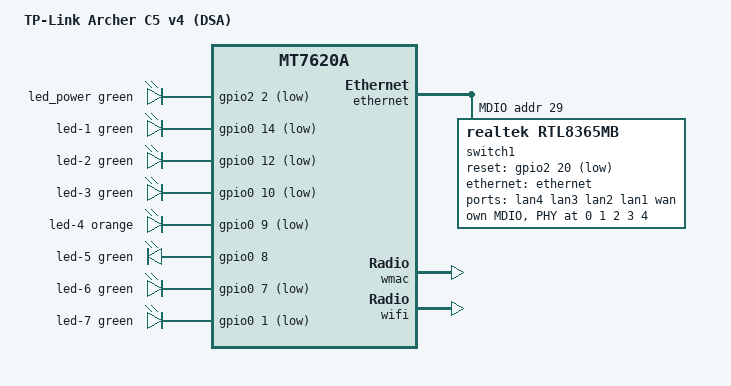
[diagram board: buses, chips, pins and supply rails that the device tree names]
// SPDX-License-Identifier: GPL-2.0-or-later OR MIT

#include <dt-bindings/leds/common.h>
#include <dt-bindings/interrupt-controller/irq.h>

#include "mt7620a_tplink_8m.dtsi"

/ {
	compatible = "tplink,archer-c5-v4-dsa", "ralink,mt7620a-soc";
	model = "TP-Link Archer C5 v4 (DSA)";

	aliases {
		led-boot = &led_power;
		led-failsafe = &led_power;
		led-running = &led_power;
		led-upgrade = &led_power;
		label-mac-device = &ethernet;
	};

	leds {
		compatible = "gpio-leds";

		led_power: led-0 {
			function = LED_FUNCTION_POWER;
			color = <LED_COLOR_ID_GREEN>;
			gpios = <&gpio2 2 GPIO_ACTIVE_LOW>;
		};

		led-1 {
			function = LED_FUNCTION_WLAN_2GHZ;
			color = <LED_COLOR_ID_GREEN>;
			gpios = <&gpio0 14 GPIO_ACTIVE_LOW>;
			linux,default-trigger = "phy1tpt";
		};

		led-2 {
			function = LED_FUNCTION_WLAN_5GHZ;
			color = <LED_COLOR_ID_GREEN>;
			gpios = <&gpio0 12 GPIO_ACTIVE_LOW>;
			linux,default-trigger = "phy0tpt";
		};

		led-3 {
			function = LED_FUNCTION_WAN;
			color = <LED_COLOR_ID_GREEN>;
			gpios = <&gpio0 10 GPIO_ACTIVE_LOW>;
		};

		led-4 {
			function = LED_FUNCTION_WAN;
			color = <LED_COLOR_ID_ORANGE>;
			gpios = <&gpio0 9 GPIO_ACTIVE_LOW>;
		};

		led-5 {
			function = LED_FUNCTION_LAN;
			color = <LED_COLOR_ID_GREEN>;
			gpios = <&gpio0 8 GPIO_ACTIVE_HIGH>;
		};

		led-6 {
			function = LED_FUNCTION_USB;
			color = <LED_COLOR_ID_GREEN>;
			gpios = <&gpio0 7 GPIO_ACTIVE_LOW>;
			trigger-sources = <&ohci_port1>, <&ehci_port1>;
			linux,default-trigger = "usbport";
		};

		led-7 {
			function = LED_FUNCTION_WPS;
			color = <LED_COLOR_ID_GREEN>;
			gpios = <&gpio0 1 GPIO_ACTIVE_LOW>;
		};
	};
};

&gpio0 {
	interrupt-controller;
	#interrupt-cells = <2>;
};

&state_default {
	gpio {
		groups = "i2c", "uartf", "ephy", "rgmii2";
		function = "gpio";
	};
};

&ethernet {
	pinctrl-names = "default";
	pinctrl-0 = <&rgmii1_pins &mdio_pins>;

	/* Internal switch is used as transparent switch connecting
	   its port6 (CPU) to external switch through port5 */
	/delete-property/ mediatek,portmap;

	/* Currrent realtek DSA driver forces forwarding on CPU */
	mediatek,mac-learn-disable;

	port@5 {
		status = "okay";
		mediatek,fixed-link = <1000 1 1 1>;
		phy-mode = "rgmii";
	};

	mdio0: mdio-bus {
		status = "okay";
	};
};

&mdio0 {
	switch1@29 {

		compatible = "realtek,rtl8365mb";
		reg = <29>;

		reset-gpios = <&gpio2 20 GPIO_ACTIVE_LOW>;

		switch_intc: interrupt-controller {
			interrupt-parent = <&gpio0>;
			interrupts = <11 IRQ_TYPE_EDGE_FALLING>;
			interrupt-controller;
			#address-cells = <0>;
			#interrupt-cells = <1>;
		};

		mdio {
			#address-cells = <1>;
			#size-cells = <0>;

			phy0: ethernet-phy@0 {
				reg = <0>;
				interrupt-parent = <&switch_intc>;
				interrupts = <0>;
			};
			phy1: ethernet-phy@1 {
				reg = <1>;
				interrupt-parent = <&switch_intc>;
				interrupts = <1>;
			};
			phy2: ethernet-phy@2 {
				reg = <2>;
				interrupt-parent = <&switch_intc>;
				interrupts = <2>;
			};
			phy3: ethernet-phy@3 {
				reg = <3>;
				interrupt-parent = <&switch_intc>;
				interrupts = <3>;
			};
			phy4: ethernet-phy@4 {
				reg = <4>;
				interrupt-parent = <&switch_intc>;
				interrupts = <4>;
			};
		};

		ports {
			#address-cells = <1>;
			#size-cells = <0>;
			reg = <0>;

			port@0 {
				reg = <0>;
				label = "lan4";
				phy-handle = <&phy0>;
			};

			port@1 {
				reg = <1>;
				label = "lan3";
				phy-handle = <&phy1>;
			};

			port@2 {
				reg = <2>;
				label = "lan2";
				phy-handle = <&phy2>;
			};

			port@3 {
				reg = <3>;
				label = "lan1";
				phy-handle = <&phy3>;
			};

			port@4 {
				reg = <4>;
				label = "wan";
				phy-handle = <&phy4>;

				nvmem-cells = <&macaddr_rom_f100 1>;
				nvmem-cell-names = "mac-address";
			};

			port@7 {
				reg = <7>;
				ethernet = <&ethernet>;
				phy-mode = "rgmii";
				tx-internal-delay-ps = <2000>;
				rx-internal-delay-ps = <0>;

				dsa-tag-protocol = "rtl8_4";

				fixed-link {
					speed = <1000>;
					full-duplex;
				};
			};
		};
	};
};

&wmac {
	pinctrl-names = "default", "pa_gpio";
	pinctrl-0 = <&pa_pins>;
	pinctrl-1 = <&pa_gpio_pins>;

	nvmem-cells = <&eeprom_radio_0>, <&macaddr_rom_f100 0>;
	nvmem-cell-names = "eeprom", "mac-address";
};

&wifi {
	nvmem-cells = <&eeprom_radio_8000>, <&macaddr_rom_f100 2>;
	nvmem-cell-names = "eeprom", "mac-address";
};
